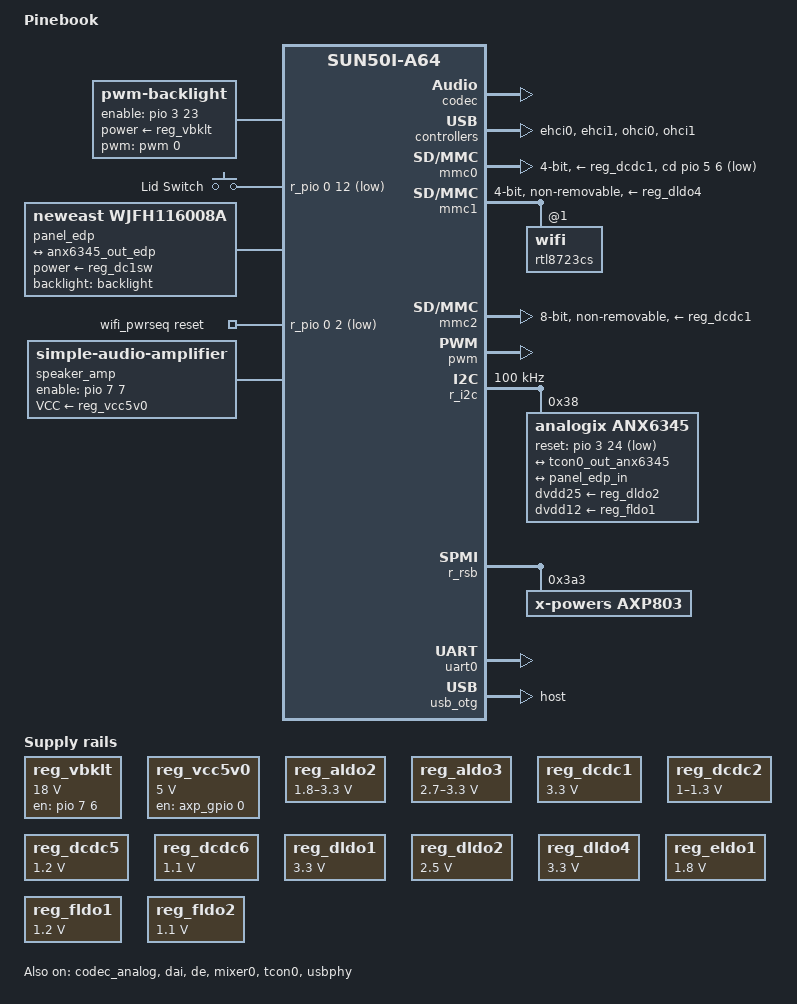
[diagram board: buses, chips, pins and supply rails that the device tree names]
// SPDX-License-Identifier: (GPL-2.0+ OR MIT)
// Copyright (C) 2017 Icenowy Zheng <icenowy@aosc.xyz>
// Copyright (C) 2018 Vasily Khoruzhick <anarsoul@gmail.com>

/dts-v1/;

#include "sun50i-a64.dtsi"
#include "sun50i-a64-cpu-opp.dtsi"

#include <dt-bindings/gpio/gpio.h>
#include <dt-bindings/input/gpio-keys.h>
#include <dt-bindings/input/input.h>
#include <dt-bindings/pwm/pwm.h>

/ {
	model = "Pinebook";
	compatible = "pine64,pinebook", "allwinner,sun50i-a64";

	aliases {
		serial0 = &uart0;
		ethernet0 = &rtl8723cs;
	};

	backlight: backlight {
		compatible = "pwm-backlight";
		pwms = <&pwm 0 50000 0>;
		brightness-levels = <0 5 10 15 20 30 40 55 70 85 100>;
		default-brightness-level = <2>;
		enable-gpios = <&pio 3 23 GPIO_ACTIVE_HIGH>; /* PD23 */
		power-supply = <&reg_vbklt>;
	};

	chosen {
		stdout-path = "serial0:115200n8";
	};

	gpio_keys {
		compatible = "gpio-keys";

		lid_switch {
			label = "Lid Switch";
			gpios = <&r_pio 0 12 GPIO_ACTIVE_LOW>; /* PL12 */
			linux,input-type = <EV_SW>;
			linux,code = <SW_LID>;
			linux,can-disable;
			wakeup-source;
			wakeup-event-action = <EV_ACT_DEASSERTED>;
		};
	};

	panel_edp: panel-edp {
		compatible = "neweast,wjfh116008a";
		backlight = <&backlight>;
		power-supply = <&reg_dc1sw>;

		port {
			panel_edp_in: endpoint {
				remote-endpoint = <&anx6345_out_edp>;
			};
		};
	};

	reg_vbklt: vbklt {
		compatible = "regulator-fixed";
		regulator-name = "vbklt";
		regulator-min-microvolt = <18000000>;
		regulator-max-microvolt = <18000000>;
		gpio = <&pio 7 6 GPIO_ACTIVE_HIGH>; /* PH6 */
		enable-active-high;
	};

	reg_vcc5v0: vcc5v0 {
		compatible = "regulator-fixed";
		regulator-name = "vcc5v0";
		regulator-min-microvolt = <5000000>;
		regulator-max-microvolt = <5000000>;
		gpio = <&axp_gpio 0 GPIO_ACTIVE_HIGH>;
		enable-active-high;
	};

	wifi_pwrseq: wifi_pwrseq {
		compatible = "mmc-pwrseq-simple";
		reset-gpios = <&r_pio 0 2 GPIO_ACTIVE_LOW>; /* PL2 */
	};

	speaker_amp: audio-amplifier {
		compatible = "simple-audio-amplifier";
		VCC-supply = <&reg_vcc5v0>;
		enable-gpios = <&pio 7 7 GPIO_ACTIVE_HIGH>; /* PH7 */
		sound-name-prefix = "Speaker Amp";
	};

};

&codec {
	status = "okay";
};

&codec_analog {
	cpvdd-supply = <&reg_eldo1>;
	status = "okay";
};

&cpu0 {
	cpu-supply = <&reg_dcdc2>;
};

&cpu1 {
	cpu-supply = <&reg_dcdc2>;
};

&cpu2 {
	cpu-supply = <&reg_dcdc2>;
};

&cpu3 {
	cpu-supply = <&reg_dcdc2>;
};

&dai {
	status = "okay";
};

&de {
	status = "okay";
};

&ehci0 {
	status = "okay";
};

&ehci1 {
	status = "okay";
};

&mixer0 {
	status = "okay";
};

&mmc0 {
	pinctrl-names = "default";
	pinctrl-0 = <&mmc0_pins>;
	vmmc-supply = <&reg_dcdc1>;
	cd-gpios = <&pio 5 6 GPIO_ACTIVE_LOW>; /* PF6 */
	disable-wp;
	bus-width = <4>;
	status = "okay";
};

&mmc1 {
	pinctrl-names = "default";
	pinctrl-0 = <&mmc1_pins>;
	vmmc-supply = <&reg_dldo4>;
	vqmmc-supply = <&reg_eldo1>;
	mmc-pwrseq = <&wifi_pwrseq>;
	bus-width = <4>;
	non-removable;
	status = "okay";

	rtl8723cs: wifi@1 {
		reg = <1>;
	};
};

&mmc2 {
	pinctrl-names = "default";
	pinctrl-0 = <&mmc2_pins>, <&mmc2_ds_pin>;
	vmmc-supply = <&reg_dcdc1>;
	vqmmc-supply = <&reg_eldo1>;
	max-frequency = <200000000>;
	bus-width = <8>;
	non-removable;
	cap-mmc-hw-reset;
	mmc-hs200-1_8v;
	status = "okay";
};

&ohci0 {
	status = "okay";
};

&ohci1 {
	status = "okay";
};

&pio {
	vcc-pc-supply = <&reg_eldo1>;
	vcc-pd-supply = <&reg_dcdc1>;
	vcc-pe-supply = <&reg_aldo1>;
	vcc-pg-supply = <&reg_eldo1>;
};

&pwm {
	status = "okay";
};

&r_i2c {
	clock-frequency = <100000>;
	pinctrl-names = "default";
	pinctrl-0 = <&r_i2c_pl89_pins>;
	status = "okay";

	anx6345: anx6345@38 {
		compatible = "analogix,anx6345";
		reg = <0x38>;
		reset-gpios = <&pio 3 24 GPIO_ACTIVE_LOW>; /* PD24 */
		dvdd25-supply = <&reg_dldo2>;
		dvdd12-supply = <&reg_fldo1>;

		ports {
			#address-cells = <1>;
			#size-cells = <0>;

			anx6345_in: port@0 {
				reg = <0>;
				anx6345_in_tcon0: endpoint {
					remote-endpoint = <&tcon0_out_anx6345>;
				};
			};

			anx6345_out: port@1 {
				reg = <1>;
				anx6345_out_edp: endpoint {
					remote-endpoint = <&panel_edp_in>;
				};
			};
		};
	};
};

&r_pio {
	/*
	 * FIXME: We can't add that supply for now since it would
	 * create a circular dependency between pinctrl, the regulator
	 * and the RSB Bus.
	 *
	 * vcc-pl-supply = <&reg_aldo2>;
	 */
};

&r_rsb {
	status = "okay";

	axp803: pmic@3a3 {
		compatible = "x-powers,axp803";
		reg = <0x3a3>;
		interrupt-parent = <&r_intc>;
		interrupts = <GIC_SPI 32 IRQ_TYPE_LEVEL_LOW>;
	};
};

#include "axp803.dtsi"

&ac_power_supply {
	status = "okay";
};

&battery_power_supply {
	status = "okay";
};

&reg_aldo1 {
	regulator-name = "vcc-pe";
};

&reg_aldo2 {
	regulator-always-on;
	regulator-min-microvolt = <1800000>;
	regulator-max-microvolt = <3300000>;
	regulator-name = "vcc-pl";
};

&reg_aldo3 {
	regulator-always-on;
	regulator-min-microvolt = <2700000>;
	regulator-max-microvolt = <3300000>;
	regulator-name = "vcc-pll-avcc";
};

&reg_dc1sw {
	regulator-name = "vcc-lcd";
};

&reg_dcdc1 {
	regulator-always-on;
	regulator-min-microvolt = <3300000>;
	regulator-max-microvolt = <3300000>;
	regulator-name = "vcc-3v3";
};

&reg_dcdc2 {
	regulator-always-on;
	regulator-min-microvolt = <1000000>;
	regulator-max-microvolt = <1300000>;
	regulator-name = "vdd-cpux";
};

/* DCDC3 is polyphased with DCDC2 */

&reg_dcdc5 {
	regulator-always-on;
	regulator-min-microvolt = <1200000>;
	regulator-max-microvolt = <1200000>;
	regulator-name = "vcc-dram";
};

&reg_dcdc6 {
	regulator-always-on;
	regulator-min-microvolt = <1100000>;
	regulator-max-microvolt = <1100000>;
	regulator-name = "vdd-sys";
};

&reg_dldo1 {
	regulator-min-microvolt = <3300000>;
	regulator-max-microvolt = <3300000>;
	regulator-name = "vcc-hdmi";
};

&reg_dldo2 {
	regulator-min-microvolt = <2500000>;
	regulator-max-microvolt = <2500000>;
	regulator-name = "vcc-edp";
};

&reg_dldo4 {
	regulator-min-microvolt = <3300000>;
	regulator-max-microvolt = <3300000>;
	regulator-name = "vcc-wifi";
};

&reg_eldo1 {
	regulator-always-on;
	regulator-min-microvolt = <1800000>;
	regulator-max-microvolt = <1800000>;
	regulator-name = "cpvdd";
};

&reg_fldo1 {
	regulator-min-microvolt = <1200000>;
	regulator-max-microvolt = <1200000>;
	regulator-name = "vcc-1v2-hsic";
};

&reg_fldo2 {
	regulator-always-on;
	regulator-min-microvolt = <1100000>;
	regulator-max-microvolt = <1100000>;
	regulator-name = "vdd-cpus";
};

&reg_rtc_ldo {
	regulator-name = "vcc-rtc";
};

&simplefb_lcd {
	panel-supply = <&reg_dc1sw>;
	dvdd25-supply = <&reg_dldo2>;
	dvdd12-supply = <&reg_fldo1>;
};

&simplefb_hdmi {
	vcc-hdmi-supply = <&reg_dldo1>;
};

&sound {
	status = "okay";
	simple-audio-card,aux-devs = <&codec_analog>, <&speaker_amp>;
	simple-audio-card,widgets = "Microphone", "Internal Microphone Left",
				    "Microphone", "Internal Microphone Right",
				    "Headphone", "Headphone Jack",
				    "Speaker", "Internal Speaker";
	simple-audio-card,routing =
			"Left DAC", "DACL",
			"Right DAC", "DACR",
			"Speaker Amp INL", "LINEOUT",
			"Speaker Amp INR", "LINEOUT",
			"Internal Speaker", "Speaker Amp OUTL",
			"Internal Speaker", "Speaker Amp OUTR",
			"Headphone Jack", "HP",
			"ADCL", "Left ADC",
			"ADCR", "Right ADC",
			"Internal Microphone Left", "MBIAS",
			"MIC1", "Internal Microphone Left",
			"Internal Microphone Right", "HBIAS",
			"MIC2", "Internal Microphone Right";
};

&tcon0 {
	pinctrl-names = "default";
	pinctrl-0 = <&lcd_rgb666_pins>;

	status = "okay";
};

&tcon0_out {
	tcon0_out_anx6345: endpoint {
		remote-endpoint = <&anx6345_in_tcon0>;
	};
};

&uart0 {
	pinctrl-names = "default";
	pinctrl-0 = <&uart0_pb_pins>;
	status = "okay";
};

&usb_otg {
	dr_mode = "host";
};

&usbphy {
	usb0_vbus-supply = <&reg_vcc5v0>;
	usb1_vbus-supply = <&reg_vcc5v0>;
	status = "okay";
};
